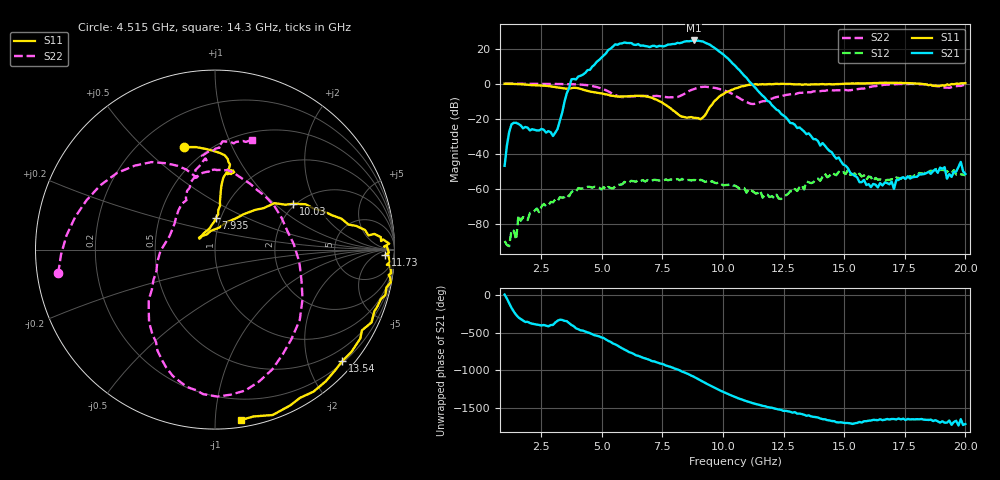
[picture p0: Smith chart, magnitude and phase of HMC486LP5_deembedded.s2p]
!Hittite Microwave Corporation
!20 Alpha Road
!Chelmsford, MA 01824
!Tel: 978-250-3343
!Fax: 978-250-3373
!Device: HMC486LP5, 7-9 GHz, GaAS PHEMT MMIC 2 Watt Power Amplifier in Leadless 5x5 mm SMT Package
!Misc: Vdd1,2,3,4,5 = +7 V, Idd = 1300 mA, Room
# MHZ S MA R 50
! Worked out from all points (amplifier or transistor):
!   201 points, 1 GHz to 20 GHz, reference 50 ohm
!   highest |S21| = 24.7 dB at 8.79 GHz (marker M1)
!   |S21| within 3 dB of that: 7.639 GHz to 9.52 GHz (1.881 GHz wide, 21.9 % of centre) (the widest 1 of 3)
!   unconditionally stable (mu >= 1): 1.38 GHz to 14.98 GHz; 15.13803 GHz to 15.17184 GHz; 18.19 GHz to 19.53 GHz (the widest 3 of 4)
!   at 4.135 GHz: K = 16.82, MAG = 17.0 dB, |S12| = -60.0 dB
!   at 10.5 GHz: K = 46.69, MAG = 14.6 dB, |S12| = -58.3 dB
!   at 20 GHz: K = -762.87, MSG = 0.4 dB, |S12| = -52.4 dB
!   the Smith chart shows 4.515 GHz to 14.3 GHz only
!   S11 on the Smith chart (normalised r, x): 4.515 GHz: 0.38, +0.67; 7.935 GHz: 0.95, +0.34; 10.03 GHz: 1.94, +1.33; 11.73 GHz: 28, -17; 13.54 GHz: 0.23, -2.64; 14.3 GHz: 0.05, -1.16
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1000  0.994 -61.5  0.004492 8.8  3.187e-05 32.2  1.019 -35.5
4230  0.679 125.7  1.814 -112.3  0.001012 158.4  0.93 -153.2
4515  0.596 106.7  2.487 -146.0  0.001126 148.7  0.884 -171.3
5085  0.51 82.0  6.45 148.2  0.001109 138.9  0.693 141.9
5560  0.437 80.4  13.29 63.9  0.001157 137.1  0.474 109.8
5940  0.43 78.0  15.08 -5.5  0.001556 134.5  0.415 104.2
6130  0.438 77.5  14.52 -39.0  0.001524 129.4  0.431 100.7
6510  0.448 78.1  13.58 -90.0  0.00177 111.9  0.432 93.8
7365  0.319 84.3  12.04 173.5  0.001702 90.7  0.441 76.5
7935  0.174 88.6  13.68 112.2  0.001798 74.7  0.411 36.9
8410  0.111 124.0  16 49.6  0.001735 63.9  0.51 -19.2
8790  0.106 144.7  17.23 -6.5  0.001758 55.6  0.695 -57.2
9170  0.107 102.6  16.14 -72.8  0.0017 42.7  0.813 -83.8
9550  0.251 51.3  11.8 -137.6  0.001639 33.5  0.781 -101.5
10025  0.505 30.4  6.806 147.9  0.001227 24.8  0.647 -119.7
10500  0.725 13.8  3.286 81.6  0.00122 7.5  0.464 -142.8
11735  0.949 -1.9  0.395 -41.5  0.0006842 -41.6  0.318 120.0
13540  0.943 -41.3  0.038 -164.4  0.00151 -112.0  0.569 87.5
13730  0.959 -50.0  0.026 176.5  0.001507 -118.7  0.605 86.0
14300  0.961 -81.4  0.014 133.0  0.002105 -150.4  0.645 71.4
16865  1.064 -124.8  0.001323 140.3  0.001767 151.4  0.949 -77.4
20000  1.032 121.5  0.002616 80.6  0.002412 95.0  0.923 149.3
